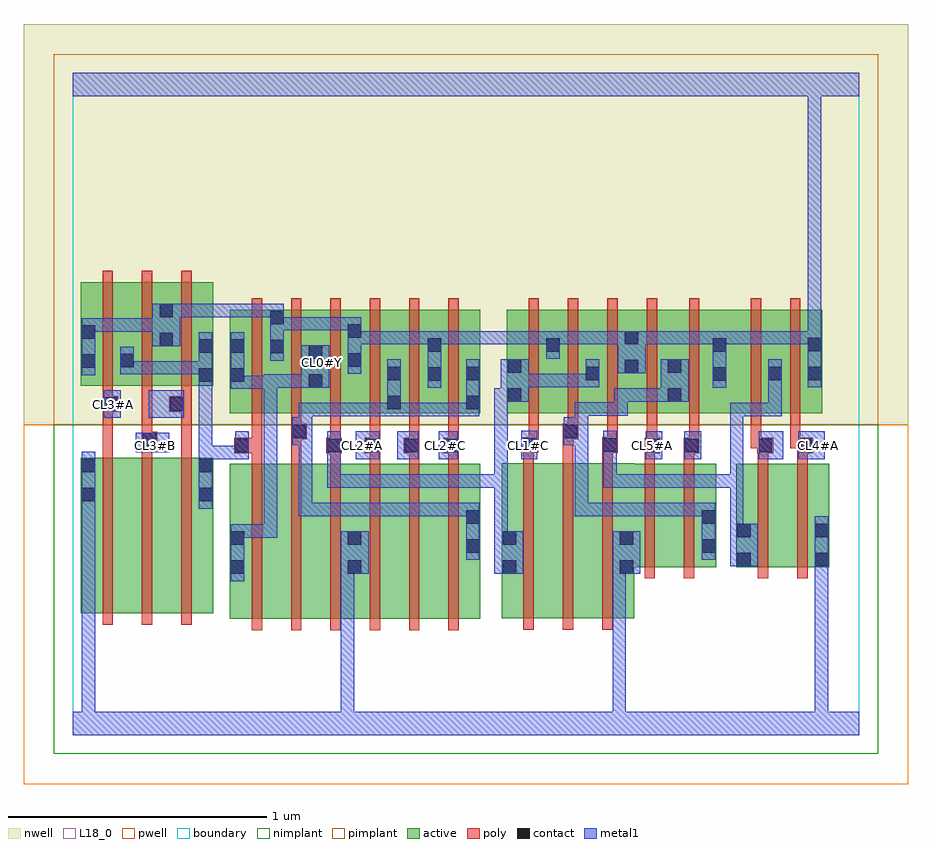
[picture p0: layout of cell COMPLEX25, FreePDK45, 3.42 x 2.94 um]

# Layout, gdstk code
import gdstk
lib = gdstk.Library(unit=1e-6, precision=1e-09)
def R(c, l, rs):  # rectangles x0, y0, x1, y1
    for r in rs: c.add(gdstk.rectangle(r[:2], r[2:], *l))
def A(c, l, x, y, w, h, nx, ny, dx, dy):  # array of equal rectangles
    R(c, l, [(x+i*dx, y+j*dy, x+i*dx+w, y+j*dy+h) for i in range(nx) for j in range(ny)])
active = (1, 0)
pwell = (2, 0)
nwell = (3, 0)
nimplant = (4, 0)
pimplant = (5, 0)
poly = (9, 0)
contact = (10, 0)
metal1 = (11, 0)
L18_0 = (18, 0)
boundary = (235, 0)

complex25 = lib.new_cell('COMPLEX25')
R(complex25, active, [(0.608,0.45,0.788,1.05), (0.608,0.45,0.668,1.05), (0.788,0.45,0.94,1.05), (0.94,0.45,1.12,1.05), (1.06,0.45,1.244,1.05), (1.06,0.45,1.12,0.81), (1.244,0.45,1.396,1.05), (1.396,0.45,1.576,1.05), (1.658,0.452,1.838,1.052), (1.658,0.452,1.718,1.052), (1.838,0.452,1.99,1.052), (1.99,0.452,2.17,1.052), (0.032,0.472,0.212,1.072), (0.032,0.472,0.092,1.072), (0.212,0.472,0.364,1.072), (0.364,0.472,0.544,1.072), (0.484,0.472,0.544,1.072), (1.516,0.556,1.576,1.05), (2.11,0.62,2.17,0.792), (2.11,0.65,2.306,1.05), (2.306,0.65,2.486,1.05), (2.426,0.65,2.486,1.05), (2.564,0.65,2.624,1.05), (2.564,0.65,2.744,1.05), (2.744,0.65,2.924,1.05), (2.864,0.65,2.924,1.05), (0.608,1.244,0.668,1.644), (0.608,1.244,0.82,1.644), (0.76,1.244,0.82,1.644), (0.76,1.244,0.968,1.644), (0.908,1.244,0.968,1.644), (0.908,1.244,1.12,1.644), (1.06,1.244,1.12,1.644), (1.06,1.244,1.272,1.644), (1.212,1.244,1.428,1.644), (1.368,1.244,1.428,1.644), (1.368,1.244,1.576,1.644), (1.516,1.244,1.576,1.644), (1.678,1.244,1.738,1.644), (1.678,1.244,1.886,1.644), (1.826,1.244,2.038,1.644), (1.978,1.244,2.19,1.644), (2.13,1.244,2.356,1.644), (2.296,1.244,2.53,1.644), (2.47,1.244,2.744,1.644), (2.684,1.244,2.896,1.644), (2.836,1.244,2.896,1.644), (1.212,1.256,1.272,1.644), (2.296,1.284,2.356,1.644), (0.032,1.35,0.092,1.75), (0.032,1.35,0.24,1.75), (0.18,1.35,0.392,1.75), (0.332,1.35,0.544,1.75), (0.484,1.35,0.544,1.75), (2.47,1.366,2.53,1.644), (1.978,1.368,2.038,1.644), (2.684,1.368,2.744,1.644), (2.13,1.394,2.19,1.644), (0.18,1.418,0.24,1.644), (1.826,1.478,1.886,1.644), (0.332,1.498,0.392,1.672)])
R(complex25, pwell, [(-0.188,-0.188,3.228,1.2)])
R(complex25, nwell, [(-0.188,1.2,3.228,2.748)])
R(complex25, nimplant, [(-0.072,-0.072,3.112,1.2)])
R(complex25, pimplant, [(-0.072,1.2,3.112,2.632)])
A(complex25, poly, 0.692, 0.406, 0.04, 0.688, 6, 1, 0.152, 0)
A(complex25, poly, 1.742, 0.408, 0.04, 0.688, 3, 1, 0.152, 0)
A(complex25, poly, 0.116, 0.428, 0.04, 0.688, 3, 1, 0.152, 0)
A(complex25, poly, 0.996, 1.054, 0.04, 0.076, 4, 1, 0.152, 0)
A(complex25, poly, 1.128, 1.09, 0.06, 0.06, 3, 1, 0.152, 0)
A(complex25, poly, 0.996, 1.11, 0.04, 0.13, 4, 1, 0.152, 0)
A(complex25, poly, 0.692, 1.2, 0.04, 0.488, 6, 1, 0.152, 0)
A(complex25, poly, 1.762, 1.2, 0.04, 0.488, 4, 1, 0.152, 0)
A(complex25, poly, 0.116, 1.306, 0.04, 0.488, 3, 1, 0.152, 0)
R(complex25, poly, [(2.21,0.606,2.25,1.094), (2.362,0.606,2.402,1.094), (2.648,0.606,2.688,1.094), (2.8,0.606,2.84,1.094), (0.692,1.054,0.732,1.13), (0.844,1.054,0.884,1.184), (2.21,1.054,2.25,1.13), (2.362,1.054,2.402,1.13), (2.648,1.054,2.688,1.13), (2.8,1.054,2.84,1.13), (1.742,1.056,1.782,1.132), (1.894,1.056,1.934,1.184), (2.046,1.056,2.086,1.132), (0.116,1.076,0.156,1.29), (0.268,1.076,0.308,1.152), (0.42,1.076,0.46,1.29), (0.624,1.09,0.732,1.15), (0.692,1.09,0.732,1.13), (0.692,1.09,0.732,1.13), (0.98,1.09,1.04,1.15), (1.148,1.09,1.188,1.13), (1.148,1.09,1.188,1.13), (1.3,1.09,1.34,1.13), (1.3,1.09,1.34,1.13), (1.452,1.09,1.492,1.13), (1.452,1.09,1.492,1.13), (2.21,1.09,2.25,1.13), (2.21,1.09,2.25,1.13), (2.21,1.09,2.27,1.15), (2.362,1.09,2.402,1.13), (2.362,1.09,2.402,1.13), (2.362,1.09,2.422,1.15), (2.646,1.09,2.706,1.15), (2.8,1.09,2.86,1.15), (1.74,1.092,1.8,1.152), (2.046,1.092,2.106,1.152), (0.692,1.11,0.732,1.24), (0.996,1.11,1.036,1.15), (0.996,1.11,1.036,1.15), (2.218,1.11,2.258,1.24), (2.382,1.11,2.422,1.24), (2.62,1.11,2.66,1.24), (2.62,1.11,2.686,1.15), (2.646,1.11,2.686,1.15), (2.772,1.11,2.812,1.24), (2.772,1.11,2.84,1.15), (2.8,1.11,2.84,1.15), (0.268,1.112,0.328,1.172), (1.76,1.112,1.8,1.152), (1.76,1.112,1.802,1.152), (1.762,1.112,1.802,1.24), (2.066,1.112,2.106,1.152), (2.066,1.112,2.106,1.152), (2.066,1.112,2.106,1.24), (0.268,1.132,0.308,1.172), (0.268,1.132,0.308,1.172), (0.268,1.132,0.308,1.346), (0.844,1.144,0.884,1.184), (0.844,1.144,0.884,1.184), (0.844,1.144,0.904,1.204), (1.894,1.144,1.934,1.184), (1.894,1.144,1.934,1.184), (1.894,1.144,1.954,1.204), (0.844,1.164,0.884,1.24), (1.914,1.164,1.954,1.24), (2.382,1.2,2.422,1.688), (2.62,1.2,2.66,1.688), (2.772,1.2,2.812,1.688), (0.116,1.25,0.176,1.31), (0.374,1.25,0.46,1.31), (0.42,1.25,0.46,1.29), (0.42,1.25,0.46,1.29), (0.116,1.27,0.156,1.31), (0.116,1.27,0.156,1.31), (0.116,1.27,0.156,1.346), (0.42,1.27,0.46,1.346)])
A(complex25, contact, 1.132, 1.094, 0.052, 0.052, 3, 1, 0.152, 0)
R(complex25, contact, [(0.612,0.624,0.664,0.676), (1.064,0.624,1.116,0.676), (1.662,0.624,1.714,0.676), (2.114,0.624,2.166,0.676), (2.568,0.654,2.62,0.706), (2.868,0.654,2.92,0.706), (1.52,0.706,1.572,0.758), (2.43,0.706,2.482,0.758), (0.612,0.736,0.664,0.788), (1.064,0.736,1.116,0.788), (1.662,0.736,1.714,0.788), (2.114,0.736,2.166,0.788), (2.568,0.766,2.62,0.818), (2.868,0.766,2.92,0.818), (1.52,0.818,1.572,0.87), (2.43,0.818,2.482,0.87), (0.036,0.904,0.088,0.956), (0.488,0.904,0.54,0.956), (0.036,1.016,0.088,1.068), (0.488,1.016,0.54,1.068), (0.628,1.094,0.68,1.146), (0.984,1.094,1.036,1.146), (2.214,1.094,2.266,1.146), (2.366,1.094,2.418,1.146), (2.65,1.094,2.702,1.146), (2.804,1.094,2.856,1.146), (1.744,1.096,1.796,1.148), (2.05,1.096,2.102,1.148), (0.272,1.116,0.324,1.168), (0.848,1.148,0.9,1.2), (1.898,1.148,1.95,1.2), (0.12,1.254,0.172,1.306), (0.378,1.254,0.43,1.306), (1.216,1.26,1.268,1.312), (1.52,1.26,1.572,1.312), (1.682,1.288,1.734,1.34), (2.3,1.288,2.352,1.34), (0.912,1.342,0.964,1.394), (0.488,1.366,0.54,1.418), (0.612,1.366,0.664,1.418), (1.372,1.37,1.424,1.422), (2.474,1.37,2.526,1.422), (1.216,1.372,1.268,1.424), (1.52,1.372,1.572,1.424), (1.982,1.372,2.034,1.424), (2.688,1.372,2.74,1.424), (2.84,1.372,2.892,1.424), (2.134,1.398,2.186,1.45), (1.682,1.4,1.734,1.452), (2.3,1.4,2.352,1.452), (0.036,1.42,0.088,1.472), (0.184,1.422,0.236,1.474), (1.064,1.424,1.116,1.476), (0.912,1.454,0.964,1.506), (0.764,1.476,0.816,1.528), (0.488,1.478,0.54,1.53), (0.612,1.478,0.664,1.53), (1.372,1.482,1.424,1.534), (1.83,1.482,1.882,1.534), (2.474,1.482,2.526,1.534), (2.84,1.484,2.892,1.536), (0.336,1.504,0.388,1.556), (2.134,1.51,2.186,1.562), (0.036,1.532,0.088,1.584), (1.064,1.536,1.116,1.588), (0.764,1.588,0.816,1.64), (0.336,1.616,0.388,1.668)])
A(complex25, metal1, 0.874, 0.846, 0.162, 0.052, 3, 1, 0.11, 0)
A(complex25, metal1, 0.984, 0.846, 0.052, 0.052, 3, 1, 0.11, 0)
A(complex25, metal1, 1.41, 0.956, 0.052, 0.052, 3, 1, 0.11, 0)
A(complex25, metal1, 0.874, 1.232, 0.052, 0.052, 3, 1, 0.11, 0)
A(complex25, metal1, 1.72, 1.51, 0.162, 0.052, 3, 1, 0.11, 0)
R(complex25, metal1, [(0,0,3.04,0.092), (0.036,0.04,0.088,0.092), (0.036,0.04,0.088,0.092), (0.036,0.04,0.088,0.092), (0.036,0.04,0.088,0.092), (0.036,0.04,0.088,0.092), (0.036,0.04,0.088,0.092), (0.036,0.04,0.088,0.928), (1.036,0.04,1.088,0.676), (2.086,0.04,2.138,0.092), (2.086,0.04,2.138,0.092), (2.086,0.04,2.138,0.092), (2.086,0.04,2.138,0.092), (2.086,0.04,2.138,0.676), (2.868,0.04,2.92,0.678), (0.612,0.596,0.664,0.816), (1.036,0.624,1.088,0.676), (1.036,0.624,1.088,0.676), (1.036,0.624,1.088,0.676), (1.036,0.624,1.088,0.676), (1.036,0.624,1.088,0.676), (1.036,0.624,1.088,0.676), (1.036,0.624,1.088,0.676), (1.036,0.624,1.088,0.676), (1.036,0.624,1.144,0.788), (1.63,0.624,1.742,0.788), (2.086,0.624,2.138,0.676), (2.086,0.624,2.138,0.676), (2.086,0.624,2.138,0.676), (2.086,0.624,2.138,0.676), (2.086,0.624,2.194,0.788), (2.868,0.626,2.92,0.678), (2.868,0.626,2.92,0.678), (2.868,0.626,2.92,0.678), (2.868,0.626,2.92,0.678), (2.868,0.626,2.92,0.678), (2.868,0.626,2.92,0.678), (2.868,0.626,2.92,0.678), (2.868,0.626,2.92,0.678), (2.868,0.626,2.92,0.678), (2.868,0.626,2.92,0.678), (2.868,0.626,2.92,0.678), (2.868,0.626,2.92,0.678), (2.868,0.626,2.92,0.846), (2.54,0.654,2.648,0.818), (1.52,0.678,1.572,0.898), (2.43,0.678,2.482,0.898), (1.63,0.736,1.682,1.008), (0.612,0.764,0.79,0.816), (0.738,0.764,0.79,0.816), (0.738,0.764,0.79,0.816), (0.738,0.764,0.79,0.816), (0.738,0.764,0.79,0.816), (0.738,0.764,0.79,0.816), (0.738,0.764,0.79,0.816), (0.738,0.764,0.79,0.816), (0.738,0.764,0.79,1.39), (2.54,0.766,2.592,1.008), (0.874,0.846,0.926,0.898), (0.874,0.846,0.926,0.898), (0.874,0.846,0.926,0.898), (0.874,0.846,0.926,1.228), (0.984,0.846,1.036,0.898), (0.984,0.846,1.036,0.898), (1.204,0.846,1.256,0.898), (1.204,0.846,1.256,0.898), (1.204,0.846,1.462,0.898), (1.41,0.846,1.462,0.898), (1.41,0.846,1.462,0.898), (1.41,0.846,1.462,0.898), (1.41,0.846,1.572,0.898), (1.94,0.846,1.992,0.898), (1.94,0.846,1.992,0.898), (1.94,0.846,1.992,0.898), (1.94,0.846,2.144,0.898), (1.94,0.846,1.992,1.228), (2.092,0.846,2.144,0.898), (2.092,0.846,2.144,0.898), (2.092,0.846,2.144,0.898), (2.092,0.846,2.306,0.898), (2.254,0.846,2.306,0.898), (2.254,0.846,2.324,0.898), (2.272,0.846,2.324,0.898), (2.272,0.846,2.416,0.898), (2.364,0.846,2.416,0.898), (2.364,0.846,2.482,0.898), (0.036,0.876,0.088,0.928), (0.036,0.876,0.088,0.928), (0.036,0.876,0.088,1.096), (0.488,0.876,0.54,1.096), (0.984,0.956,1.146,1.008), (0.984,0.956,1.036,1.118), (1.094,0.956,1.146,1.008), (1.094,0.956,1.268,1.008), (1.216,0.956,1.268,1.008), (1.216,0.956,1.268,1.008), (1.216,0.956,1.268,1.008), (1.216,0.956,1.462,1.008), (1.41,0.956,1.462,1.008), (1.41,0.956,1.462,1.008), (1.41,0.956,1.572,1.008), (1.52,0.956,1.682,1.008), (1.63,0.956,1.682,1.34), (2.05,0.956,2.102,1.12), (2.05,0.956,2.306,1.008), (2.254,0.956,2.306,1.008), (2.254,0.956,2.324,1.008), (2.272,0.956,2.324,1.008), (2.272,0.956,2.416,1.008), (2.364,0.956,2.416,1.008), (2.364,0.956,2.592,1.008), (2.54,0.956,2.592,1.008), (2.54,0.956,2.592,1.008), (2.54,0.956,2.592,1.008), (2.54,0.956,2.592,1.284), (0.488,1.044,0.54,1.118), (0.488,1.066,0.54,1.118), (0.488,1.066,0.54,1.118), (0.488,1.066,0.54,1.118), (0.488,1.066,0.54,1.118), (0.488,1.066,0.54,1.118), (0.488,1.066,0.68,1.118), (0.488,1.066,0.54,1.39), (0.628,1.066,0.68,1.174), (0.984,1.066,1.036,1.118), (0.984,1.066,1.036,1.174), (1.094,1.066,1.184,1.174), (1.254,1.066,1.336,1.174), (1.414,1.066,1.488,1.174), (1.734,1.066,1.796,1.176), (2.214,1.066,2.278,1.174), (2.364,1.066,2.428,1.174), (2.65,1.066,2.746,1.174), (2.804,1.066,2.906,1.174), (2.05,1.068,2.102,1.12), (2.05,1.068,2.102,1.176), (0.244,1.094,0.374,1.168), (0.848,1.12,0.9,1.228), (1.898,1.12,1.95,1.228), (0.848,1.176,0.926,1.228), (0.874,1.176,0.926,1.228), (0.874,1.176,0.926,1.284), (1.898,1.176,1.992,1.228), (1.94,1.176,1.992,1.286), (0.12,1.226,0.186,1.334), (0.294,1.226,0.43,1.334), (0.874,1.232,1.036,1.284), (0.984,1.232,1.146,1.284), (1.094,1.232,1.146,1.284), (1.094,1.232,1.146,1.284), (1.094,1.232,1.268,1.284), (1.216,1.232,1.268,1.284), (1.216,1.232,1.268,1.284), (1.216,1.232,1.268,1.452), (1.216,1.232,1.378,1.284), (1.326,1.232,1.378,1.284), (1.326,1.232,1.378,1.284), (1.326,1.232,1.378,1.284), (1.326,1.232,1.572,1.284), (1.52,1.232,1.572,1.452), (2.54,1.232,2.592,1.284), (2.54,1.232,2.74,1.284), (2.688,1.232,2.74,1.284), (2.688,1.232,2.74,1.284), (2.688,1.232,2.74,1.284), (2.688,1.232,2.74,1.396), (1.94,1.234,2.144,1.286), (2.092,1.234,2.144,1.286), (2.092,1.234,2.144,1.286), (2.092,1.234,2.144,1.286), (2.092,1.234,2.144,1.34), (1.63,1.288,1.706,1.34), (1.654,1.288,1.706,1.34), (1.654,1.288,1.762,1.452), (2.092,1.288,2.144,1.34), (2.092,1.288,2.306,1.34), (2.254,1.288,2.306,1.34), (2.254,1.288,2.324,1.34), (2.272,1.288,2.38,1.452), (0.488,1.338,0.54,1.558), (0.612,1.338,0.664,1.39), (0.612,1.338,0.664,1.39), (0.612,1.338,0.664,1.558), (0.612,1.338,0.79,1.39), (0.738,1.338,0.79,1.39), (0.738,1.338,0.79,1.39), (0.738,1.338,0.79,1.39), (0.738,1.338,0.79,1.39), (0.738,1.338,0.79,1.394), (0.738,1.342,0.926,1.394), (0.874,1.342,0.926,1.394), (0.874,1.342,0.936,1.394), (0.884,1.342,0.992,1.506), (1.372,1.342,1.424,1.562), (2.474,1.342,2.526,1.562), (1.71,1.344,1.762,1.396), (1.71,1.344,1.762,1.396), (1.71,1.344,1.882,1.396), (1.83,1.344,1.882,1.396), (1.83,1.344,1.882,1.396), (1.83,1.344,1.882,1.396), (1.83,1.344,2.034,1.396), (1.982,1.344,2.034,1.452), (2.688,1.344,2.74,1.452), (2.84,1.344,2.892,1.564), (0.036,1.392,0.088,1.612), (0.184,1.394,0.236,1.446), (0.184,1.394,0.236,1.446), (0.184,1.394,0.236,1.502), (0.184,1.394,0.43,1.446), (0.378,1.394,0.43,1.446), (0.378,1.394,0.43,1.446), (0.378,1.394,0.43,1.446), (0.378,1.394,0.54,1.446), (1.064,1.396,1.116,1.616), (2.106,1.398,2.214,1.562), (0.764,1.448,0.816,1.668), (1.83,1.454,1.882,1.562), (0.308,1.504,0.416,1.668), (1.064,1.51,1.146,1.562), (1.094,1.51,1.146,1.562), (1.094,1.51,1.256,1.562), (1.204,1.51,1.256,1.562), (1.204,1.51,1.256,1.562), (1.204,1.51,1.256,1.562), (1.204,1.51,1.424,1.562), (1.372,1.51,1.424,1.562), (1.372,1.51,1.424,1.562), (1.372,1.51,1.652,1.562), (1.6,1.51,1.652,1.562), (1.6,1.51,1.652,1.562), (1.6,1.51,1.652,1.562), (1.6,1.51,1.772,1.562), (1.72,1.51,1.772,1.562), (1.94,1.51,1.992,1.562), (1.94,1.51,1.992,1.562), (1.94,1.51,1.992,1.562), (2.05,1.51,2.102,1.562), (2.05,1.51,2.158,1.562), (2.162,1.51,2.254,1.562), (2.202,1.51,2.254,1.562), (2.202,1.51,2.324,1.562), (2.272,1.51,2.324,1.562), (2.272,1.51,2.416,1.562), (2.364,1.51,2.416,1.562), (2.364,1.51,2.526,1.562), (2.474,1.51,2.526,1.562), (2.474,1.51,2.526,1.562), (2.474,1.51,2.702,1.562), (2.65,1.51,2.702,1.562), (2.65,1.51,2.702,1.562), (2.65,1.51,2.702,1.562), (2.65,1.51,2.892,1.562), (2.84,1.51,2.892,1.562), (2.84,1.51,2.892,1.562), (2.84,1.512,2.892,1.564), (2.84,1.512,2.892,1.564), (2.84,1.512,2.892,1.564), (2.84,1.512,2.892,1.564), (2.84,1.512,2.892,1.564), (2.84,1.512,2.892,1.564), (2.84,1.512,2.892,1.564), (2.84,1.512,2.892,1.564), (2.84,1.512,2.892,2.52), (0.036,1.56,0.088,1.612), (0.036,1.56,0.088,1.612), (0.036,1.56,0.212,1.612), (0.16,1.56,0.212,1.612), (0.16,1.56,0.212,1.612), (0.16,1.56,0.212,1.612), (0.16,1.56,0.36,1.612), (0.764,1.564,0.926,1.616), (0.874,1.564,0.926,1.616), (0.874,1.564,0.926,1.616), (0.874,1.564,0.926,1.616), (0.874,1.564,1.036,1.616), (0.984,1.564,1.036,1.616), (0.984,1.564,1.116,1.616), (0.364,1.616,0.416,1.668), (0.364,1.616,0.416,1.668), (0.364,1.616,0.554,1.668), (0.502,1.616,0.554,1.668), (0.502,1.616,0.554,1.668), (0.502,1.616,0.554,1.668), (0.502,1.616,0.774,1.668), (0.722,1.616,0.774,1.668), (0.722,1.616,0.816,1.668), (0,2.468,3.04,2.56), (2.84,2.468,2.892,2.52), (2.84,2.468,2.892,2.52), (2.84,2.468,2.892,2.52), (2.84,2.468,2.892,2.52), (2.84,2.468,2.892,2.52), (2.84,2.468,2.892,2.52), (2.84,2.468,2.892,2.52), (2.84,2.468,2.892,2.52)])
A(complex25, L18_0, 1.094, 1.094, 0.052, 0.052, 3, 1, 0.16, 0)
A(complex25, L18_0, 1.72, 1.51, 0.162, 0.052, 3, 1, 0.11, 0)
R(complex25, L18_0, [(0,0,3.04,0.092), (0.036,0.04,0.088,0.092), (0.036,0.04,0.088,0.092), (0.036,0.04,0.088,0.092), (0.036,0.04,0.088,0.092), (0.036,0.04,0.088,0.092), (0.036,0.04,0.088,0.092), (0.036,0.04,0.088,0.928), (1.036,0.04,1.088,0.676), (2.086,0.04,2.138,0.092), (2.086,0.04,2.138,0.092), (2.086,0.04,2.138,0.092), (2.086,0.04,2.138,0.092), (2.086,0.04,2.138,0.676), (2.868,0.04,2.92,0.678), (0.612,0.596,0.664,0.816), (1.036,0.624,1.088,0.676), (1.036,0.624,1.088,0.676), (1.036,0.624,1.088,0.676), (1.036,0.624,1.088,0.676), (1.036,0.624,1.088,0.676), (1.036,0.624,1.088,0.676), (1.036,0.624,1.088,0.676), (1.036,0.624,1.088,0.676), (1.036,0.624,1.144,0.788), (2.086,0.624,2.138,0.676), (2.086,0.624,2.138,0.676), (2.086,0.624,2.138,0.676), (2.086,0.624,2.138,0.676), (2.086,0.624,2.194,0.788), (2.868,0.626,2.92,0.678), (2.868,0.626,2.92,0.678), (2.868,0.626,2.92,0.678), (2.868,0.626,2.92,0.678), (2.868,0.626,2.92,0.678), (2.868,0.626,2.92,0.678), (2.868,0.626,2.92,0.678), (2.868,0.626,2.92,0.678), (2.868,0.626,2.92,0.678), (2.868,0.626,2.92,0.678), (2.868,0.626,2.92,0.678), (2.868,0.626,2.92,0.678), (2.868,0.626,2.92,0.846), (0.612,0.764,0.79,0.816), (0.738,0.764,0.79,0.816), (0.738,0.764,0.79,0.816), (0.738,0.764,0.79,0.816), (0.738,0.764,0.79,0.816), (0.738,0.764,0.79,0.816), (0.738,0.764,0.79,0.816), (0.738,0.764,0.79,0.816), (0.738,0.764,0.79,1.39), (0.036,0.876,0.088,0.928), (0.036,0.876,0.088,0.928), (0.036,0.876,0.088,1.096), (1.094,1.066,1.184,1.174), (1.254,1.066,1.336,1.174), (1.414,1.066,1.488,1.174), (1.734,1.066,1.796,1.176), (2.214,1.066,2.278,1.174), (2.364,1.066,2.428,1.174), (2.65,1.066,2.746,1.174), (2.804,1.066,2.906,1.174), (0.244,1.094,0.374,1.168), (0.294,1.094,0.346,1.146), (1.734,1.094,1.786,1.146), (2.214,1.094,2.266,1.146), (2.374,1.094,2.426,1.146), (2.694,1.094,2.746,1.146), (2.854,1.094,2.906,1.146), (0.12,1.226,0.186,1.334), (0.294,1.226,0.43,1.334), (0.134,1.254,0.186,1.306), (0.294,1.254,0.346,1.306), (0.612,1.338,0.664,1.39), (0.612,1.338,0.664,1.39), (0.612,1.338,0.664,1.558), (0.612,1.338,0.79,1.39), (0.738,1.338,0.79,1.39), (0.738,1.338,0.79,1.39), (0.738,1.338,0.79,1.39), (0.738,1.338,0.79,1.39), (0.738,1.338,0.79,1.394), (0.738,1.342,0.926,1.394), (0.874,1.342,0.926,1.394), (0.874,1.342,0.936,1.394), (0.884,1.342,0.992,1.506), (1.372,1.342,1.424,1.562), (2.474,1.342,2.526,1.562), (2.84,1.344,2.892,1.564), (0.036,1.392,0.088,1.612), (1.064,1.396,1.116,1.616), (2.106,1.398,2.214,1.562), (0.934,1.414,0.986,1.466), (0.764,1.448,0.816,1.668), (1.83,1.454,1.882,1.562), (0.308,1.504,0.416,1.668), (1.064,1.51,1.146,1.562), (1.094,1.51,1.146,1.562), (1.094,1.51,1.256,1.562), (1.204,1.51,1.256,1.562), (1.204,1.51,1.256,1.562), (1.204,1.51,1.256,1.562), (1.204,1.51,1.424,1.562), (1.372,1.51,1.424,1.562), (1.372,1.51,1.424,1.562), (1.372,1.51,1.652,1.562), (1.6,1.51,1.652,1.562), (1.6,1.51,1.652,1.562), (1.6,1.51,1.652,1.562), (1.6,1.51,1.772,1.562), (1.72,1.51,1.772,1.562), (1.94,1.51,1.992,1.562), (1.94,1.51,1.992,1.562), (1.94,1.51,1.992,1.562), (2.05,1.51,2.102,1.562), (2.05,1.51,2.158,1.562), (2.162,1.51,2.254,1.562), (2.202,1.51,2.254,1.562), (2.202,1.51,2.324,1.562), (2.272,1.51,2.324,1.562), (2.272,1.51,2.416,1.562), (2.364,1.51,2.416,1.562), (2.364,1.51,2.526,1.562), (2.474,1.51,2.526,1.562), (2.474,1.51,2.526,1.562), (2.474,1.51,2.702,1.562), (2.65,1.51,2.702,1.562), (2.65,1.51,2.702,1.562), (2.65,1.51,2.702,1.562), (2.65,1.51,2.892,1.562), (2.84,1.51,2.892,1.562), (2.84,1.51,2.892,1.562), (2.84,1.512,2.892,1.564), (2.84,1.512,2.892,1.564), (2.84,1.512,2.892,1.564), (2.84,1.512,2.892,1.564), (2.84,1.512,2.892,1.564), (2.84,1.512,2.892,1.564), (2.84,1.512,2.892,1.564), (2.84,1.512,2.892,1.564), (2.84,1.512,2.892,2.52), (0.036,1.56,0.088,1.612), (0.036,1.56,0.088,1.612), (0.036,1.56,0.212,1.612), (0.16,1.56,0.212,1.612), (0.16,1.56,0.212,1.612), (0.16,1.56,0.212,1.612), (0.16,1.56,0.36,1.612), (0.764,1.564,0.926,1.616), (0.874,1.564,0.926,1.616), (0.874,1.564,0.926,1.616), (0.874,1.564,0.926,1.616), (0.874,1.564,1.036,1.616), (0.984,1.564,1.036,1.616), (0.984,1.564,1.116,1.616), (0.364,1.616,0.416,1.668), (0.364,1.616,0.416,1.668), (0.364,1.616,0.554,1.668), (0.502,1.616,0.554,1.668), (0.502,1.616,0.554,1.668), (0.502,1.616,0.554,1.668), (0.502,1.616,0.774,1.668), (0.722,1.616,0.774,1.668), (0.722,1.616,0.816,1.668), (0,2.468,3.04,2.56), (2.84,2.468,2.892,2.52), (2.84,2.468,2.892,2.52), (2.84,2.468,2.892,2.52), (2.84,2.468,2.892,2.52), (2.84,2.468,2.892,2.52), (2.84,2.468,2.892,2.52), (2.84,2.468,2.892,2.52), (2.84,2.468,2.892,2.52)])
R(complex25, boundary, [(0,0,3.04,2.56)])
complex25.add(gdstk.Label('CL0#Y', (0.96,1.44), layer=11, texttype=0))
complex25.add(gdstk.Label('CL1#C', (1.76,1.12), layer=11, texttype=0))
complex25.add(gdstk.Label('CL2#A', (1.12,1.12), layer=11, texttype=0))
complex25.add(gdstk.Label('CL2#B', (1.28,1.12), layer=11, texttype=0))
complex25.add(gdstk.Label('CL2#C', (1.44,1.12), layer=11, texttype=0))
complex25.add(gdstk.Label('CL3#A', (0.16,1.28), layer=11, texttype=0))
complex25.add(gdstk.Label('CL3#B', (0.32,1.12), layer=11, texttype=0))
complex25.add(gdstk.Label('CL3#C', (0.32,1.28), layer=11, texttype=0))
complex25.add(gdstk.Label('CL4#A', (2.88,1.12), layer=11, texttype=0))
complex25.add(gdstk.Label('CL4#B', (2.72,1.12), layer=11, texttype=0))
complex25.add(gdstk.Label('CL5#A', (2.24,1.12), layer=11, texttype=0))
complex25.add(gdstk.Label('CL5#B', (2.4,1.12), layer=11, texttype=0))

lib.write_gds('COMPLEX25.gds')
